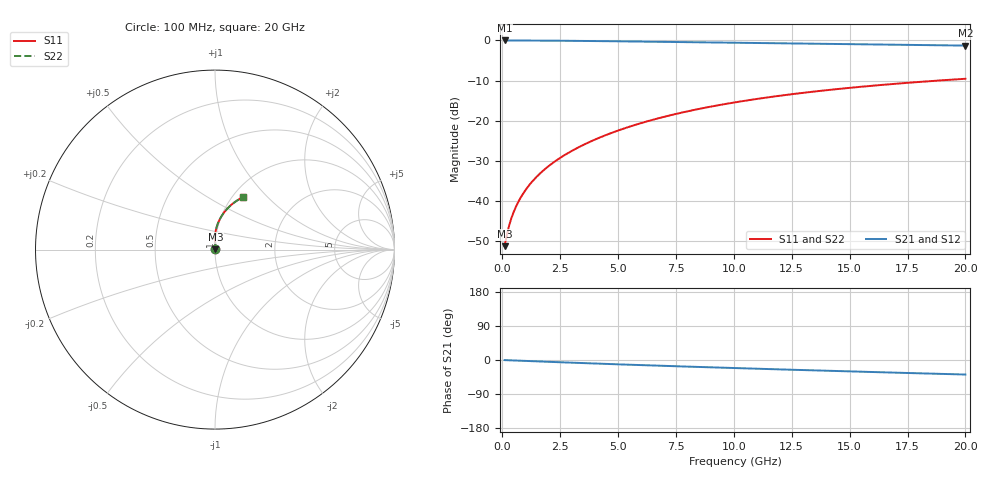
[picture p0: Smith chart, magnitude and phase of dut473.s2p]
! Touchstone file exported from HFSS 2024.1.0
!  File:  C:/UserFiles/LocalFiles/RDL_TSV_Batchsim/temp_RDL_bottom_473_1779686051.aedt
!  Generated:  01:16:44 PM May 25, 2026
!  Design:  RDL_bottom
!  Project:  temp_RDL_bottom_473_1779686051
!  Setup:  Setup1
!  Solution:  Sweep
! Variables:
!  dtsv = 10.80580581um
!  hbump = 3um
!  htsv = 59.66um
!  ldown = 541.38um
!  lrdl = 100um
!  p = 40
!  p1 = 57.59um
!  rhole = 1um
!  t = 450um
!  tdown = 3.3um
!  trdl = 3.915915916um
!  wdown = 28.9um
!  wrdl = 20um
# GHz S MA R 50.000000
! Terminal data exported
! Port[1] = RDL1_T1
! Port[2] = RDL1_T2
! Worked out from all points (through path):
!   200 points, 100 MHz to 20 GHz, reference 50 ohm
!   highest |S21| = -0.02 dB at 100 MHz (marker M1); lowest = -1.3 dB at 20 GHz (marker M2)
!   group delay of S21, straight-line fit = 5.24 ps
!   lowest |S11| = -51.2 dB at 100 MHz (marker M3), VSWR 1.01, Z = 50.2 + j0.154 ohm
!   |S11| at or under -10 dB: start of sweep to 18.84 GHz
!   |S22| runs from -51.2 to -9.6 dB; largest |S21 - S12| = 2.6e-15
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0.1  0.002742 33.9  0.9977 -0.3  0.9977 -0.3  0.002742 33.9
! Gamma 0 0 0 0
! Port Impedance 50 0 50 0
0.2  0.003825 50.9  0.9975 -0.5  0.9975 -0.5  0.003825 50.9
0.3  0.00501 59.6  0.9973 -0.7  0.9973 -0.7  0.00501 59.5
0.4  0.006205 65.0  0.9971 -1.0  0.9971 -1.0  0.006206 65.0
0.5  0.007409 68.9  0.9969 -1.2  0.9969 -1.2  0.00741 68.9
0.6  0.008627 71.9  0.9967 -1.5  0.9967 -1.5  0.008628 71.9
0.8  0.01111 76.3  0.9963 -1.9  0.9963 -1.9  0.01111 76.3
1.1  0.01496 80.5  0.9956 -2.7  0.9956 -2.7  0.01496 80.5
1.3  0.01759 82.4  0.995 -3.1  0.995 -3.1  0.01759 82.4
1.6  0.02164 84.6  0.994 -3.8  0.994 -3.8  0.02164 84.6
2.1  0.02864 87.0  0.992 -5.0  0.992 -5.0  0.02863 86.9
2.7  0.03747 88.7  0.989 -6.4  0.989 -6.4  0.03746 88.7
3.5  0.04998 89.8  0.9843 -8.2  0.9843 -8.2  0.04996 89.8
4.2  0.06158 90.1  0.9796 -9.7  0.9796 -9.7  0.06154 90.0
5  0.07545 89.7  0.9738 -11.4  0.9738 -11.4  0.0754 89.7
5.9  0.09167 88.8  0.9669 -13.3  0.9669 -13.3  0.09159 88.7
6.8  0.1083 87.5  0.9599 -15.1  0.9599 -15.1  0.1082 87.4
8.4  0.1384 84.6  0.9475 -18.2  0.9475 -18.2  0.1382 84.5
10.1  0.1702 81.2  0.9344 -21.4  0.9344 -21.4  0.17 81.1
13.4  0.2295 74.4  0.9097 -27.3  0.9097 -27.3  0.2292 74.3
16.7  0.2839 67.8  0.8854 -32.9  0.8854 -32.9  0.2835 67.7
20  0.3327 61.6  0.8612 -38.4  0.8612 -38.4  0.3322 61.5
